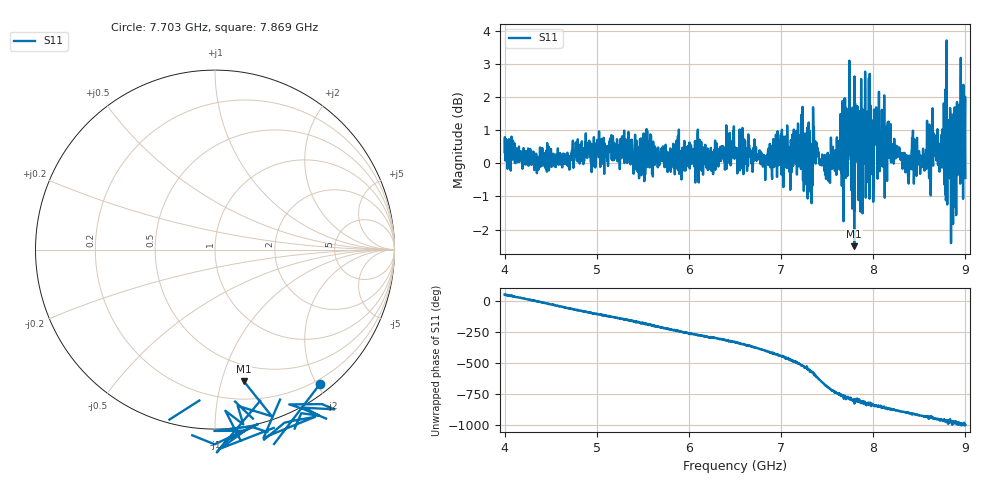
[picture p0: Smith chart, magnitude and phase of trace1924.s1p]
! Created with skrf 1.8.0 (http://scikit-rf.org).
# Hz S RI R 50.0
!freq ReS11 ImS11
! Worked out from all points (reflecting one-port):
!   1601 points, 4 GHz to 9 GHz, reference 50 ohm
!   lowest |S11| = -2.5 dB at 7.794 GHz (marker M1), VSWR 7.00, Z = 17.6 - j58.9 ohm
!   phase of S11 starts at 51 deg and turns -1052 deg over the sweep
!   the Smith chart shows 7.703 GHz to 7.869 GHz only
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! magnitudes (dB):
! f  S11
! 4 GHz  0.3
! 4.625 GHz  -0.1
! 5.25 GHz  -0.2
! 5.875 GHz  -0.1
! 6.5 GHz  0.4
! 6.822 GHz  0.0
! 7.125 GHz  0.3
! 7.209 GHz  0.4
! 7.262 GHz  0.7
! 7.284 GHz  1.1
! 7.312 GHz  -0.9
! 7.372 GHz  0.7
! 7.506 GHz  0.3
! 7.688 GHz  2.0
! 7.75 GHz  0.4
! 7.769 GHz  -0.3
! 7.794 GHz  -2.5
! 7.822 GHz  0.4
! 7.941 GHz  1.6
! 7.962 GHz  2.7
! 7.981 GHz  1.0
! 8.038 GHz  1.0
! 8.375 GHz  0.1
! 8.656 GHz  0.4
! 8.869 GHz  -1.2
! 8.953 GHz  -0.4
! 8.972 GHz  0.7
! 9 GHz  -0.4
